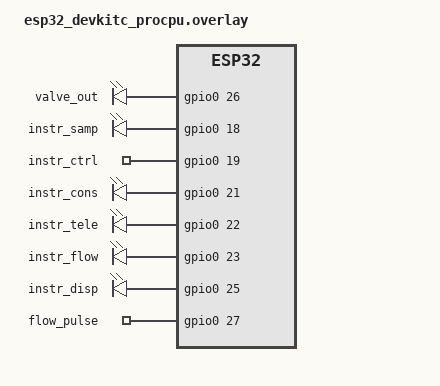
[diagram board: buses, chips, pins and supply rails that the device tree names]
/*
 * ESP32-DevKitC (classic Xtensa LX6) pin map for the superloop.
 * Only hardware description changes; the C does not.
 *
 * GPIOs chosen to avoid: strapping pins (0/2/5/12/15), UART0 console (1/3),
 * SPI flash (6-11), input-only pins (34-39).
 *
 * Instrumentation pins are on a consecutive run so an 8-channel
 * analyzer ribbon clips on in one move.
 *
 * | Task        | GPIO |
 * |-------------|------|
 * | sampling    |  18  |
 * | control     |  19  |
 * | console     |  21  |
 * | telemetry   |  22  |
 * | flow batch  |  23  |
 * | display     |  25  |
 * | valve (led0)|  26  |
 * | flow pulse  |  27  |
 */

#include <zephyr/dt-bindings/gpio/gpio.h>
#include <zephyr/dt-bindings/i2c/i2c.h>

/ {
	aliases {
		led0 = &valve_out;
	};

	leds {
		compatible = "gpio-leds";
		valve_out: valve_out { gpios = <&gpio0 26 GPIO_ACTIVE_HIGH>; };
	};

	instr {
		compatible = "gpio-leds";
		instr_samp: instr_samp { gpios = <&gpio0 18 GPIO_ACTIVE_HIGH>; };
		instr_ctrl: instr_ctrl { gpios = <&gpio0 19 GPIO_ACTIVE_HIGH>; };
		instr_cons: instr_cons { gpios = <&gpio0 21 GPIO_ACTIVE_HIGH>; };
		instr_tele: instr_tele { gpios = <&gpio0 22 GPIO_ACTIVE_HIGH>; };
		instr_flow: instr_flow { gpios = <&gpio0 23 GPIO_ACTIVE_HIGH>; };
		instr_disp: instr_disp { gpios = <&gpio0 25 GPIO_ACTIVE_HIGH>; };
	};

	keys {
		compatible = "gpio-keys";
		flow_pulse: flow_pulse {
			gpios = <&gpio0 27 (GPIO_ACTIVE_HIGH | GPIO_PULL_DOWN)>;
		};
	};
};

/* Optional SSD1306 HMI (build with -DEXTRA_CONF_FILE=display.conf).
 * i2c0 on ESP32 classic: SDA GPIO21 / SCL GPIO22 — but those are used for
 * instr_cons/tele above, so use i2c1 on SDA GPIO13 / SCL GPIO16 instead. */
